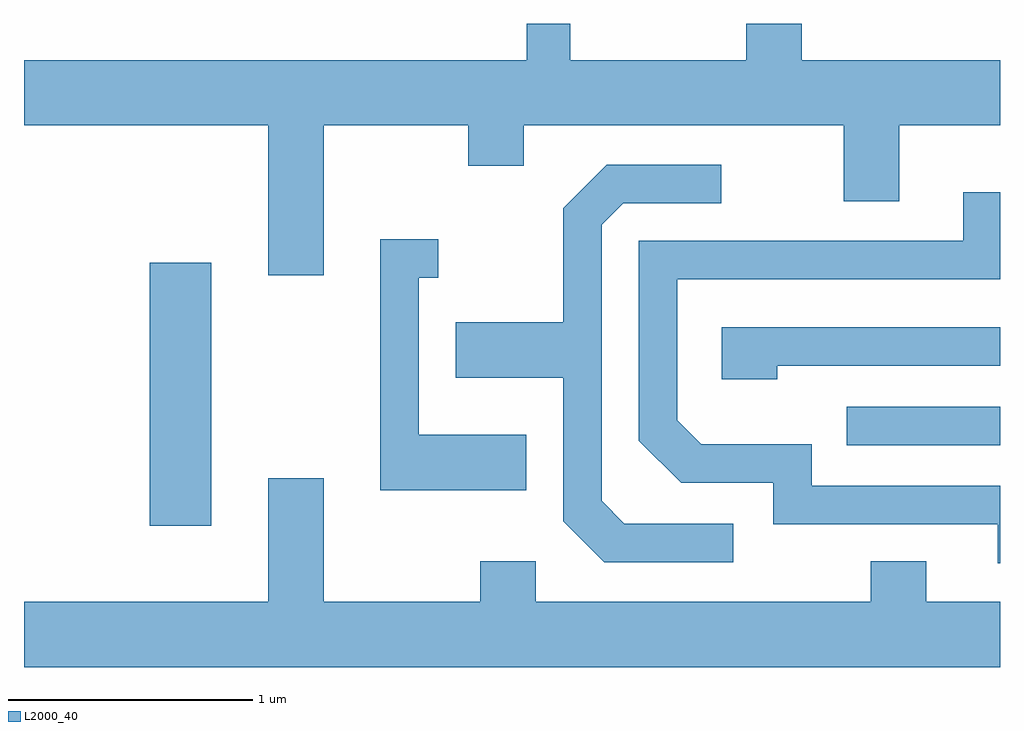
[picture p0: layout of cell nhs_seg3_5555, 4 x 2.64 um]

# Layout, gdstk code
import gdstk
lib = gdstk.Library(unit=1e-6, precision=1e-09)
def R(c, l, rs):  # rectangles x0, y0, x1, y1
    for r in rs: c.add(gdstk.rectangle(r[:2], r[2:], *l))
def P(c, l, *ps):  # polygons
    for p in ps: c.add(gdstk.Polygon(p, *l))
L2000_40 = (2000, 40)

nhs_seg3_5555 = lib.new_cell('nhs_seg3_5555')
R(nhs_seg3_5555, L2000_40, [(348.126,1219.836,348.379,1220.914), (350.983,1220.166,351.611,1220.324)])
P(nhs_seg3_5555, L2000_40, [(348.839,1221.476),(349.431,1221.476),(349.431,1221.311),(349.659,1221.311),(349.659,1221.476),(350.971,1221.476),(350.971,1221.166),(351.199,1221.166),(351.199,1221.476),(351.611,1221.476),(351.611,1221.744),(350.799,1221.744),(350.799,1221.892),(350.571,1221.892),(350.571,1221.744),(349.849,1221.744),(349.849,1221.892),(349.671,1221.892),(349.671,1221.744),(347.611,1221.744),(347.611,1221.476),(348.611,1221.476),(348.611,1220.861),(348.839,1220.861)],
  [(350.518,1219.844),(350.072,1219.844),(349.979,1219.937),(349.979,1221.069),(350.067,1221.156),(350.468,1221.156),(350.468,1221.314),(349.999,1221.314),(349.821,1221.137),(349.821,1220.669),(349.381,1220.669),(349.381,1220.441),(349.821,1220.441),(349.821,1219.854),(349.989,1219.686),(350.518,1219.686)],
  [(351.611,1219.999),(350.839,1219.999),(350.839,1220.169),(350.387,1220.169),(350.289,1220.267),(350.289,1220.846),(351.611,1220.846),(351.611,1221.203),(351.461,1221.203),(351.461,1221.004),(350.131,1221.004),(350.131,1220.184),(350.304,1220.011),(350.681,1220.011),(350.681,1219.841),(351.601,1219.841),(351.601,1219.681),(351.611,1219.681)],
  [(349.669,1220.209),(349.229,1220.209),(349.229,1220.851),(349.308,1220.851),(349.308,1221.009),(349.071,1221.009),(349.071,1219.981),(349.669,1219.981)],
  [(350.699,1220.491),(351.611,1220.491),(351.611,1220.649),(350.471,1220.649),(350.471,1220.436),(350.699,1220.436)],
  [(351.611,1219.524),(351.309,1219.524),(351.309,1219.689),(351.081,1219.689),(351.081,1219.524),(349.709,1219.524),(349.709,1219.689),(349.481,1219.689),(349.481,1219.524),(348.839,1219.524),(348.839,1220.029),(348.611,1220.029),(348.611,1219.524),(347.611,1219.524),(347.611,1219.256),(351.611,1219.256)])

lib.write_gds('nhs_seg3_5555.gds')
